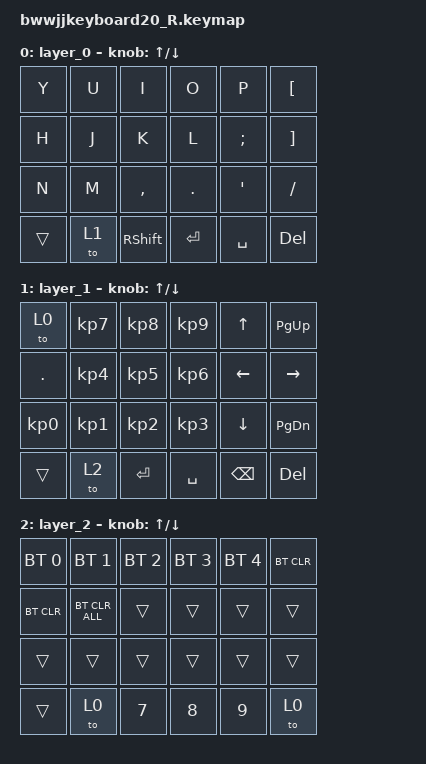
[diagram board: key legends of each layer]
#include <behaviors.dtsi>
#include <dt-bindings/zmk/bt.h>
#include <dt-bindings/zmk/keys.h>

/ {
    behaviors {
        // R编码器的行为

        rot_kp_2: sensor_rotate_kp_2 {
            compatible = "zmk,behavior-sensor-rotate-var";
            #sensor-binding-cells = <2>;
            bindings = <&kp>, <&kp>;
        };
    };

    keymap {
        compatible = "zmk,keymap";

        layer_0 {
            bindings = <
&kp Y   &kp U  &kp I      &kp O      &kp P      &kp LBKT
&kp H   &kp J  &kp K      &kp L      &kp SEMI   &kp RBKT
&kp N   &kp M  &kp COMMA  &kp DOT    &kp APOS   &kp FSLH
&trans  &to 1  &kp RSHFT  &kp ENTER  &kp SPACE  &kp DELETE
            >;

            sensor-bindings = <&rot_kp_2 UP DOWN>;
        };

        layer_1 {
            bindings = <
&to 0            &kp KP_NUMBER_7  &kp KP_NUMBER_8  &kp KP_NUMBER_9  &kp UP_ARROW    &kp PAGE_UP
&kp DOT          &kp KP_NUMBER_4  &kp KP_NUMBER_5  &kp KP_NUMBER_6  &kp LEFT        &kp RIGHT
&kp KP_NUMBER_0  &kp KP_NUMBER_1  &kp KP_NUMBER_2  &kp KP_NUMBER_3  &kp DOWN_ARROW  &kp PAGE_DOWN
&trans           &to 2            &kp ENTER        &kp SPACE        &kp BSPC        &kp DEL
            >;

            sensor-bindings = <&rot_kp_2 UP DOWN>;
        };

        layer_2 {
            bindings = <
&bt BT_SEL 0  &bt BT_SEL 1    &bt BT_SEL 2  &bt BT_SEL 3  &bt BT_SEL 4  &bt BT_CLR
&bt BT_CLR    &bt BT_CLR_ALL  &trans        &trans        &trans        &trans
&trans        &trans          &trans        &trans        &trans        &trans
&trans        &to 0           &kp N7        &kp N8        &kp N9        &to 0
            >;

            sensor-bindings = <&rot_kp_2 UP DOWN>;
        };
    };
};
